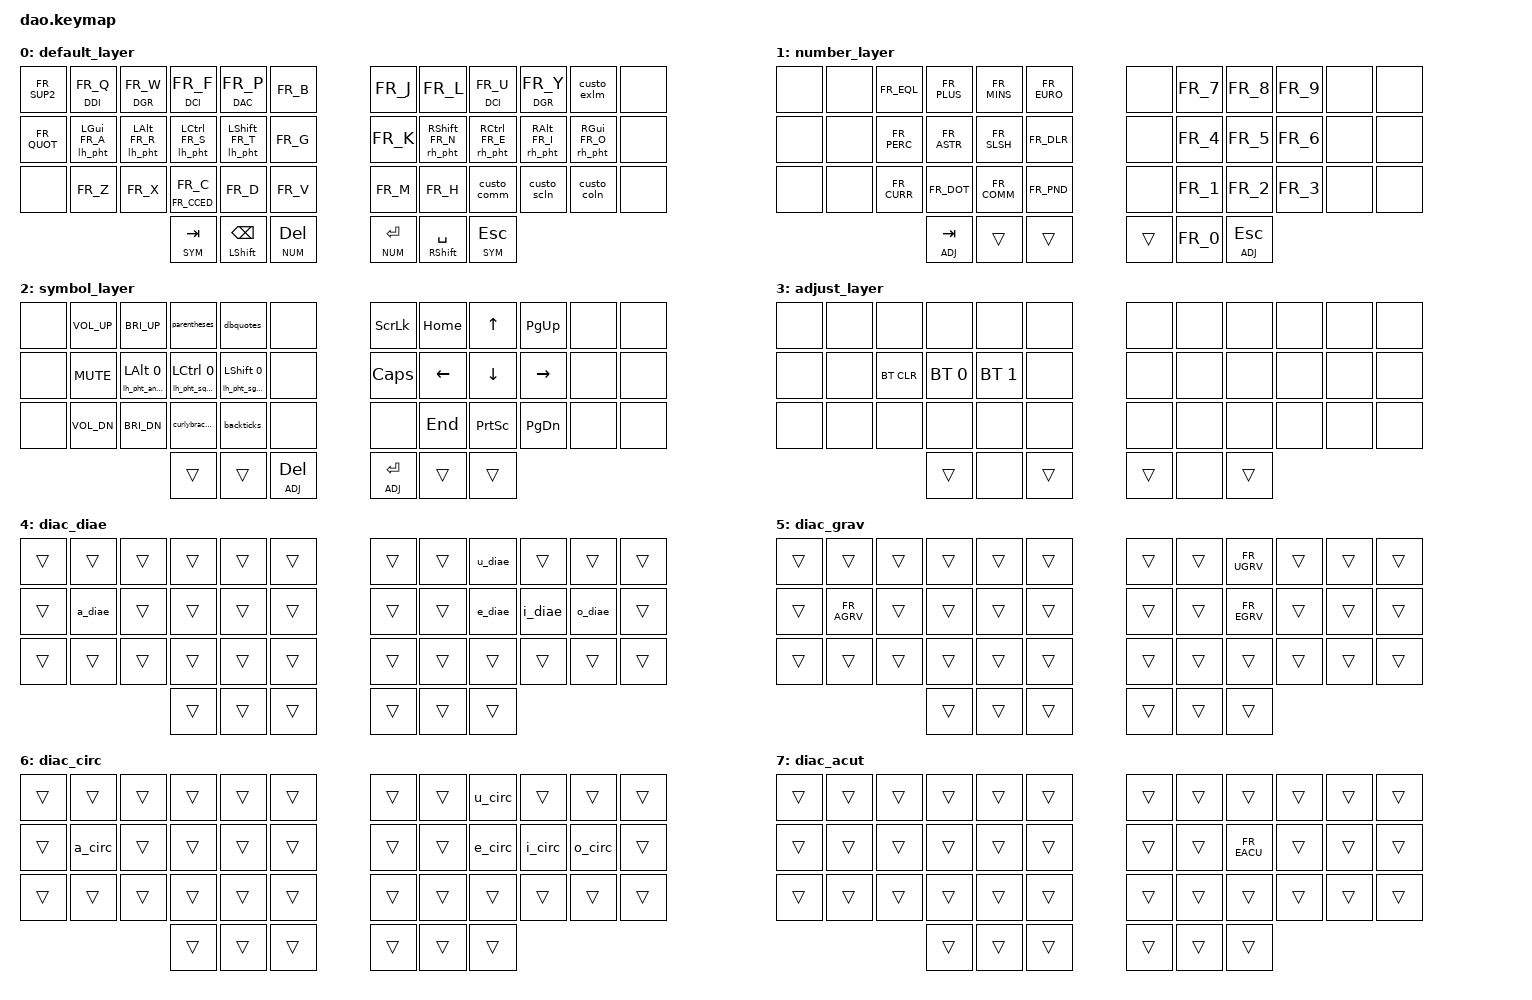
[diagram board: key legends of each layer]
/*
 * Copyright (c) 2021 Rafael Yumagulov
 *
 * SPDX-License-Identifier: MIT
 */

#include <behaviors.dtsi>
#include <dt-bindings/zmk/bt.h>
#include <dt-bindings/zmk/keys.h>
#include <dt-bindings/zmk/mouse.h>
#include "./zmk-helpers/helper.h"
#include "./zmk-helpers/key-labels/42.h"
#include "./zmk-helpers/unicode-chars/french.dtsi"
#include "./keymap_french.h"

#define ______ &trans
#define xxxxxx &none

#define DEF 0
#define NUM 1
#define SYM 2
#define ADJ 3
#define DDI 4
#define DGR 5
#define DCI 6
#define DAC 7

#define KEYS_L LT0 LT1 LT2 LT3 LT4 LT5 LM0 LM1 LM2 LM3 LM4 LM5 LB0 LB1 LB2 LB3 LB4 LB5  // left-hand keys
#define KEYS_R RT0 RT1 RT2 RT3 RT4 RT5 RM0 RM1 RM2 RM3 RM4 RM5 RB0 RB1 RB2 RB3 RB4 RB5  // right-hand keys
#define THUMBS LH2 LH1 LH0 RH0 RH1 RH2                                                  // thumb keys

&lt { quick_tap_ms = <200>; };

&mt { quick_tap_ms = <200>; };

// accentuated chars
ZMK_BEHAVIOR(a_circ, macro,
	wait-ms = <0>;
	tap-ms = <5>;
	bindings = <&kp FR_CIRC &kp FR_A>;
)

ZMK_BEHAVIOR(a_diae, macro,
	wait-ms = <0>;
	tap-ms = <5>;
	bindings = <&kp FR_DIAE &kp FR_A>;
)

ZMK_BEHAVIOR(e_circ, macro,
	wait-ms = <0>;
	tap-ms = <5>;
	bindings = <&kp FR_CIRC &kp FR_E>;
)

ZMK_BEHAVIOR(e_diae, macro,
	wait-ms = <0>;
	tap-ms = <5>;
	bindings = <&kp FR_DIAE &kp FR_E>;
)

ZMK_BEHAVIOR(u_circ, macro,
	wait-ms = <0>;
	tap-ms = <5>;
	bindings = <&kp FR_CIRC &kp FR_U>;
)

ZMK_BEHAVIOR(u_diae, macro,
	wait-ms = <0>;
	tap-ms = <5>;
	bindings = <&kp FR_DIAE &kp FR_U>;
)

ZMK_BEHAVIOR(i_circ, macro,
	wait-ms = <0>;
	tap-ms = <5>;
	bindings = <&kp FR_CIRC &kp FR_I>;
)

ZMK_BEHAVIOR(i_diae, macro,
	wait-ms = <0>;
	tap-ms = <5>;
	bindings = <&kp FR_DIAE &kp FR_I>;
)

ZMK_BEHAVIOR(o_circ, macro,
	wait-ms = <0>;
	tap-ms = <5>;
	bindings = <&kp FR_CIRC &kp FR_O>;
)

ZMK_BEHAVIOR(o_diae, macro,
	wait-ms = <0>;
	tap-ms = <5>;
	bindings = <&kp FR_DIAE &kp FR_O>;
)

// open / close brackets
ZMK_BEHAVIOR(anglebrackets, macro,
	wait-ms = <0>;
	tap-ms = <5>;
	bindings = <&kp FR_LABK>, <&kp FR_RABK>, <&kp LEFT_ARROW>;
)
ZMK_BEHAVIOR(parentheses, macro,
	wait-ms = <0>;
	tap-ms = <5>;
	bindings = <&kp FR_LPRN>, <&kp FR_RPRN>, <&kp LEFT_ARROW>;
)
ZMK_BEHAVIOR(squarebrackets, macro,
	wait-ms = <0>;
	tap-ms = <5>;
	bindings = <&kp FR_LBRC>, <&kp FR_RBRC>, <&kp LEFT_ARROW>;
)
ZMK_BEHAVIOR(curlybrackets, macro,
	wait-ms = <0>;
	tap-ms = <5>;
	bindings = <&kp FR_LCBR>, <&kp FR_RCBR>, <&kp LEFT_ARROW>;
)
ZMK_BEHAVIOR(backticks, macro,
	wait-ms = <0>;
	tap-ms = <5>;
	bindings = <&kp RA(N7)>, <&kp RA(N7)>, <&kp LEFT_ARROW>;
)
ZMK_BEHAVIOR(dbquotes, macro,
	wait-ms = <0>;
	tap-ms = <5>;
	bindings = <&kp FR_DQUO>, <&kp FR_DQUO>, <&kp LEFT_ARROW>;
)
ZMK_BEHAVIOR(sgquotes, macro,
	wait-ms = <0>;
	tap-ms = <5>;
	bindings = <&kp FR_QUOT>, <&kp FR_QUOT>, <&kp LEFT_ARROW>;
)

// Lower , Upper ? Hold ° Double #
ZMK_BEHAVIOR(custo_comm, tap_dance,
    tapping-term-ms = <175>;
    bindings = <&mt FR_DEG FR_COMM>, <&kp FR_HASH>;
)

// Lower ; Upper . Hold & Double @
ZMK_BEHAVIOR(custo_scln, tap_dance,
    tapping-term-ms = <175>;
    bindings = <&mt FR_AMPR FR_SCLN>, <&kp FR_AT>;
)

// Lower : Upper / Hold | Double \ (backslash)
ZMK_BEHAVIOR(custo_coln, tap_dance,
    tapping-term-ms = <175>;
    bindings = <&mt FR_PIPE FR_COLN>, <&kp FR_BSLS>;
)

// Lower ! Upper § Hold _ Double ~
ZMK_BEHAVIOR(custo_exlm, tap_dance,
    tapping-term-ms = <175>;
    bindings = <&mt FR_SECT FR_EXLM>, <&kp FR_TILD>;
)

// home-row mods
ZMK_HOLD_TAP(lh_pht,
    flavor = "balanced";
    tapping-term-ms = <280>;
    require-prior-idle-ms = <150>;
    hold-trigger-key-positions = <KEYS_R THUMBS>;
    hold-trigger-on-release;
    bindings = <&kp>, <&kp>;
)
ZMK_HOLD_TAP(rh_pht,
    flavor = "balanced";
    tapping-term-ms = <280>;
    require-prior-idle-ms = <150>;
    hold-trigger-key-positions = <KEYS_L THUMBS>;
    hold-trigger-on-release;
    bindings = <&kp>, <&kp>;
)
ZMK_HOLD_TAP(lh_pht_anglebrackets,
    flavor = "balanced";
    tapping-term-ms = <280>;
    require-prior-idle-ms = <150>;
    hold-trigger-key-positions = <KEYS_L THUMBS>;
    hold-trigger-on-release;
    bindings = <&kp>, <&anglebrackets>;
)
ZMK_HOLD_TAP(lh_pht_squarebrackets,
    flavor = "balanced";
    tapping-term-ms = <280>;
    require-prior-idle-ms = <150>;
    hold-trigger-key-positions = <KEYS_L THUMBS>;
    hold-trigger-on-release;
    bindings = <&kp>, <&squarebrackets>;
)
ZMK_HOLD_TAP(lh_pht_sgquotes,
    flavor = "balanced";
    tapping-term-ms = <280>;
    require-prior-idle-ms = <150>;
    hold-trigger-key-positions = <KEYS_L THUMBS>;
    hold-trigger-on-release;
    bindings = <&kp>, <&sgquotes>;
)

/ {
    chosen {
        zmk,matrix_transform = &default_transform;

        // zmk,matrix_transform = &extra_keys_transform;
    };
};

ZMK_LAYER(default_layer,
    &kp FR_SUP2   &lt DDI FR_Q        &lt DGR FR_W        &lt DCI FR_F         &lt DAC FR_P         &kp FR_B        &kp FR_J      &kp FR_L             &lt DCI FR_U         &lt DGR FR_Y        &custo_exlm         &none
    &kp FR_QUOT   &lh_pht LGUI FR_A   &lh_pht LALT FR_R   &lh_pht LCTRL FR_S   &lh_pht LSHFT FR_T   &kp FR_G        &kp FR_K      &rh_pht RSHFT FR_N   &rh_pht RCTRL FR_E   &rh_pht RALT FR_I   &rh_pht RGUI FR_O   &none
    &none         &kp FR_Z            &kp FR_X            &mt FR_CCED FR_C     &kp FR_D             &kp FR_V        &kp FR_M      &kp FR_H             &custo_comm          &custo_scln         &custo_coln         &none
                                                          &lt SYM TAB          &mt LSHFT BSPC       &lt NUM DEL     &lt NUM RET   &mt RSHFT SPACE      &lt SYM ESC
)

ZMK_LAYER(number_layer,
    &none  &none  &kp FR_EQL   &kp FR_PLUS  &kp FR_MINS  &kp FR_EURO     &none     &kp FR_7  &kp FR_8  &kp FR_9  &none  &none
    &none  &none  &kp FR_PERC  &kp FR_ASTR  &kp FR_SLSH  &kp FR_DLR      &none     &kp FR_4  &kp FR_5  &kp FR_6  &none  &none
    &none  &none  &kp FR_CURR  &kp FR_DOT   &kp FR_COMM  &kp FR_PND      &none     &kp FR_1  &kp FR_2  &kp FR_3  &none  &none
                               &lt ADJ TAB  &trans       &trans          &trans    &kp FR_0  &lt ADJ ESC
)

ZMK_LAYER(symbol_layer,
    &none  &kp C_VOL_UP   &kp C_BRI_UP                  &parentheses                    &dbquotes                 &none            &kp SLCK      &kp HOME  &kp UP_ARROW     &kp PG_UP  &none  &none
    &none  &kp C_MUTE     &lh_pht_anglebrackets LALT 0  &lh_pht_squarebrackets LCTRL 0  &lh_pht_sgquotes LSHFT 0  &none            &kp CLCK      &kp LEFT  &kp DOWN         &kp RIGHT  &none  &none
    &none  &kp C_VOL_DN   &kp C_BRI_DN                  &curlybrackets                  &backticks                &none            &none         &kp END   &kp PRINTSCREEN  &kp PG_DN  &none  &none
                                                        &trans                          &trans                    &lt ADJ DEL      &lt ADJ RET   &trans    &trans
)

ZMK_LAYER(adjust_layer,
    &none  &none  &none       &none         &none         &none      &none   &none  &none  &none  &none  &none
    &none  &none  &bt BT_CLR  &bt BT_SEL 0  &bt BT_SEL 1  &none      &none   &none  &none  &none  &none  &none
    &none  &none  &none       &none         &none         &none      &none   &none  &none  &none  &none  &none
                              &trans        &none         &trans     &trans  &none  &trans
)

ZMK_LAYER(diac_diae,
    ______   ______   ______   ______   ______   ______     ______   ______   &u_diae  ______   ______   ______
    ______   &a_diae  ______   ______   ______   ______     ______   ______   &e_diae  &i_diae  &o_diae  ______
    ______   ______   ______   ______   ______   ______     ______   ______   ______   ______   ______   ______
                               ______   ______   ______     ______   ______   ______
)

ZMK_LAYER(diac_grav,
    ______   ______        ______   ______   ______   ______     ______   ______   &kp FR_UGRV   ______   ______   ______
    ______   &kp FR_AGRV   ______   ______   ______   ______     ______   ______   &kp FR_EGRV   ______   ______   ______
    ______   ______        ______   ______   ______   ______     ______   ______   ______        ______   ______   ______
                                    ______   ______   ______     ______   ______   ______
)

ZMK_LAYER(diac_circ,
    ______   ______   ______   ______   ______   ______     ______   ______   &u_circ  ______   ______   ______
    ______   &a_circ  ______   ______   ______   ______     ______   ______   &e_circ  &i_circ  &o_circ  ______
    ______   ______   ______   ______   ______   ______     ______   ______   ______   ______   ______   ______
                               ______   ______   ______     ______   ______   ______
)

ZMK_LAYER(diac_acut,
    ______   ______   ______   ______   ______   ______     ______   ______   ______        ______   ______   ______
    ______   ______   ______   ______   ______   ______     ______   ______   &kp FR_EACU   ______   ______   ______
    ______   ______   ______   ______   ______   ______     ______   ______   ______        ______   ______   ______
                               ______   ______   ______     ______   ______   ______
)
